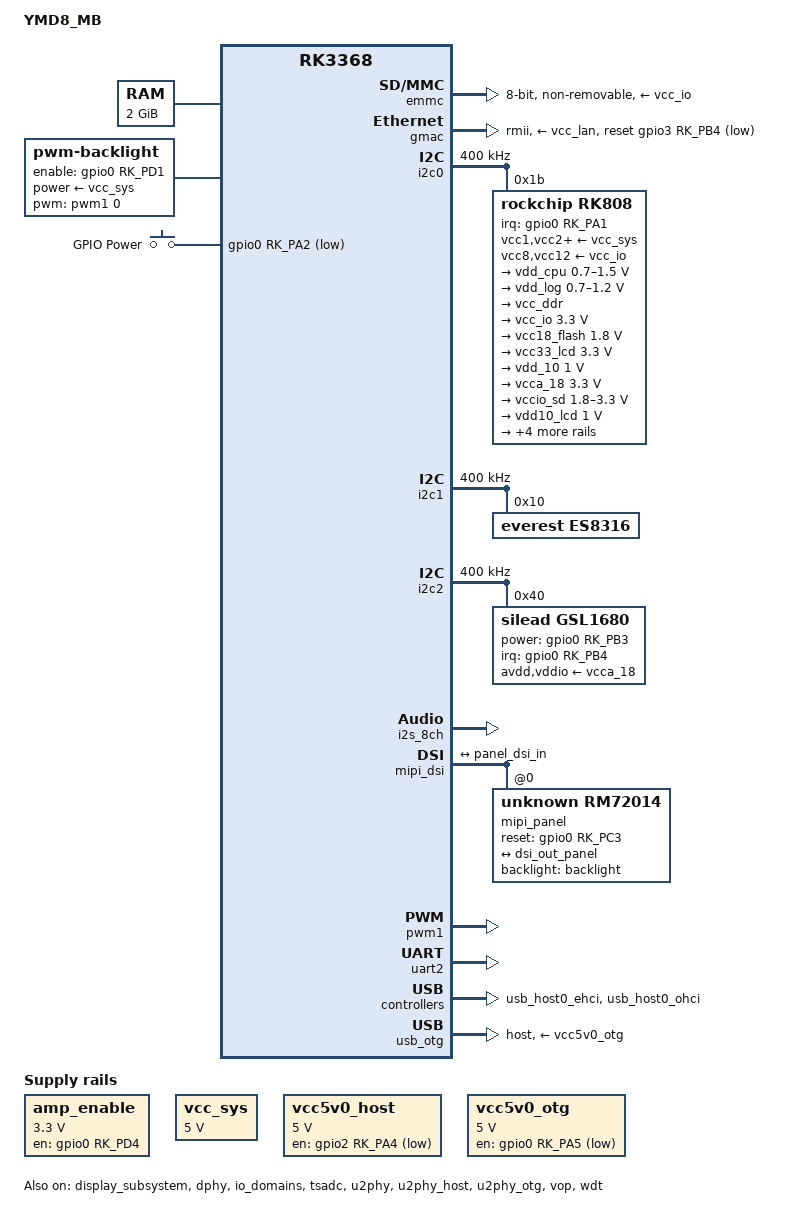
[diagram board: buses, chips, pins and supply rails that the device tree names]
// SPDX-License-Identifier: (GPL-2.0+ OR MIT)
/*
 * Author: WeiHao Li <cn.liweihao@gmail.com>
 */

/dts-v1/;
#include "rk3368.dtsi"
#include <dt-bindings/input/input.h>

/ {
	model = "YMD8_MB";
	compatible = "YM,YMD8_MB", "rockchip,rk3368";

	aliases {
		ethernet0 = &gmac;
		mmc0 = &emmc;
	};

	chosen {
		stdout-path = "serial2:115200n8";
	};

	memory@0 {
		device_type = "memory";
		reg = <0x0 0x0 0x0 0x80000000>;
	};

	backlight: backlight {
		compatible = "pwm-backlight";
		power-supply = <&vcc_sys>;
		enable-gpios = <&gpio0 RK_PD1 GPIO_ACTIVE_HIGH>;
		pwms = <&pwm1 0 25000 0>;
		brightness-levels = <
			  0   1   2   3   4   5   6   7
			  8   9  10  11  12  13  14  15
			 16  17  18  19  20  21  22  23
			 24  25  26  27  28  29  30  31
			 32  33  34  35  36  37  38  39
			 40  41  42  43  44  45  46  47
			 48  49  50  51  52  53  54  55
			 56  57  58  59  60  61  62  63
			 64  65  66  67  68  69  70  71
			 72  73  74  75  76  77  78  79
			 80  81  82  83  84  85  86  87
			 88  89  90  91  92  93  94  95
			 96  97  98  99 100 101 102 103
			104 105 106 107 108 109 110 111
			112 113 114 115 116 117 118 119
			120 121 122 123 124 125 126 127
			128 129 130 131 132 133 134 135
			136 137 138 139 140 141 142 143
			144 145 146 147 148 149 150 151
			152 153 154 155 156 157 158 159
			160 161 162 163 164 165 166 167
			168 169 170 171 172 173 174 175
			176 177 178 179 180 181 182 183
			184 185 186 187 188 189 190 191
			192 193 194 195 196 197 198 199
			200 201 202 203 204 205 206 207
			208 209 210 211 212 213 214 215
			216 217 218 219 220 221 222 223
			224 225 226 227 228 229 230 231
			232 233 234 235 236 237 238 239
			240 241 242 243 244 245 246 247
			248 249 250 251 252 253 254 255>;
		default-brightness-level = <50>;
		status = "okay";
	};

	keys: gpio-keys {
		compatible = "gpio-keys";
		pinctrl-names = "default";
		pinctrl-0 = <&pwr_key>;

		key-power {
			gpios = <&gpio0 RK_PA2 GPIO_ACTIVE_LOW>;
			label = "GPIO Power";
			linux,code = <KEY_POWER>;
			wakeup-source;
		};
	};

	cluster0_opp: opp-table-cluster0 {
		compatible = "operating-points-v2";
		opp-shared;

		opp-408000000 {
			opp-hz = /bits/ 64 <408000000>;
			opp-microvolt = <950000 950000 1350000>;
			clock-latency-ns = <40000>;
		};
		opp-600000000 {
			opp-hz = /bits/ 64 <600000000>;
			opp-microvolt = <950000 950000 1350000>;
			clock-latency-ns = <40000>;
		};
		opp-816000000 {
			opp-hz = /bits/ 64 <816000000>;
			opp-microvolt = <975000 975000 1350000>;
			clock-latency-ns = <40000>;
		};
		opp-1008000000 {
			opp-hz = /bits/ 64 <1008000000>;
			opp-microvolt = <1050000 1050000 1350000>;
			clock-latency-ns = <40000>;
		};
		opp-1200000000 {
			opp-hz = /bits/ 64 <1200000000>;
			opp-microvolt = <1150000 1150000 1350000>;
			clock-latency-ns = <40000>;
		};
		opp-1416000000 {
			opp-hz = /bits/ 64 <1416000000>;
			opp-microvolt = <1300000 1300000 1350000>;
			clock-latency-ns = <40000>;
		};
		opp-1512000000 {
			opp-hz = /bits/ 64 <1512000000>;
			opp-microvolt = <1350000 1350000 1350000>;
			clock-latency-ns = <40000>;
		};
	};

	cluster1_opp: opp-table-cluster1 {
		compatible = "operating-points-v2";
		opp-shared;

		opp-408000000 {
			opp-hz = /bits/ 64 <408000000>;
			opp-microvolt = <950000 950000 1350000>;
			clock-latency-ns = <40000>;
		};
		opp-600000000 {
			opp-hz = /bits/ 64 <600000000>;
			opp-microvolt = <950000 950000 1350000>;
			clock-latency-ns = <40000>;
		};
		opp-816000000 {
			opp-hz = /bits/ 64 <816000000>;
			opp-microvolt = <1025000 1025000 1350000>;
			clock-latency-ns = <40000>;
		};
		opp-1008000000 {
			opp-hz = /bits/ 64 <1008000000>;
			opp-microvolt = <1125000 1125000 1350000>;
			clock-latency-ns = <40000>;
		};
		opp-1200000000 {
			opp-hz = /bits/ 64 <1200000000>;
			opp-microvolt = <1225000 1225000 1350000>;
			clock-latency-ns = <40000>;
		};
	};

	amp_enable: regulator-amp-enable {
		compatible = "regulator-fixed";
		enable-active-high;
		gpio = <&gpio0 RK_PD4 GPIO_ACTIVE_HIGH>;
		regulator-name = "amp_enable";
		regulator-always-on;
		regulator-min-microvolt = <3300000>;
		regulator-max-microvolt = <3300000>;
	};

	vcc_sys: regulator-vcc-sys {
		compatible = "regulator-fixed";
		regulator-name = "vcc_sys";
		regulator-min-microvolt = <5000000>;
		regulator-max-microvolt = <5000000>;
		regulator-always-on;
		regulator-boot-on;
	};

	vcc5v0_host: regulator-vcc5v0-host {
		compatible = "regulator-fixed";
		gpio = <&gpio2 RK_PA4 GPIO_ACTIVE_LOW>;
		pinctrl-names = "default";
		pinctrl-0 = <&host_vbus_drv>;
		regulator-name = "vcc5v0_host";
		regulator-always-on;
		regulator-min-microvolt = <5000000>;
		regulator-max-microvolt = <5000000>;
	};

	vcc5v0_otg: regulator-vcc5v0-otg {
		compatible = "regulator-fixed";
		gpio = <&gpio0 RK_PA5 GPIO_ACTIVE_LOW>;
		pinctrl-names = "default";
		pinctrl-0 = <&otg_vbus_drv>;
		regulator-name = "vcc5v0_otg";
		regulator-min-microvolt = <5000000>;
		regulator-max-microvolt = <5000000>;
	};

	sound {
		compatible = "simple-audio-card";
		simple-audio-card,name = "I2S-Audio";
		simple-audio-card,format = "i2s";
		simple-audio-card,mclk-fs = <256>;

		simple-audio-card,cpu {
			sound-dai = <&i2s_8ch>;
		};

		simple-audio-card,codec {
			sound-dai = <&es8316>;
		};
	};
};

&cpu_l0 {
	clocks = <&cru ARMCLKL>;
	cpu-supply = <&vdd_cpu>;
	dynamic-power-coefficient = <149>;
	operating-points-v2 = <&cluster1_opp>;
};

&cpu_l1 {
	clocks = <&cru ARMCLKL>;
	cpu-supply = <&vdd_cpu>;
	operating-points-v2 = <&cluster1_opp>;
};

&cpu_l2 {
	clocks = <&cru ARMCLKL>;
	cpu-supply = <&vdd_cpu>;
	operating-points-v2 = <&cluster1_opp>;
};

&cpu_l3 {
	clocks = <&cru ARMCLKL>;
	cpu-supply = <&vdd_cpu>;
	operating-points-v2 = <&cluster1_opp>;
};

&cpu_b0 {
	clocks = <&cru ARMCLKB>;
	cpu-supply = <&vdd_cpu>;
	dynamic-power-coefficient = <160>;
	operating-points-v2 = <&cluster0_opp>;
};

&cpu_b1 {
	clocks = <&cru ARMCLKB>;
	cpu-supply = <&vdd_cpu>;
	operating-points-v2 = <&cluster0_opp>;
};

&cpu_b2 {
	clocks = <&cru ARMCLKB>;
	cpu-supply = <&vdd_cpu>;
	operating-points-v2 = <&cluster0_opp>;
};

&cpu_b3 {
	clocks = <&cru ARMCLKB>;
	cpu-supply = <&vdd_cpu>;
	operating-points-v2 = <&cluster0_opp>;
};

&display_subsystem {
	status = "okay";
};

&dphy {
	status = "okay";
};

&emmc {
	status = "okay";
	bus-width = <8>;
	non-removable;
	cap-mmc-highspeed;
	mmc-ddr-1_8v;
	keep-power-in-suspend;
	vmmc-supply = <&vcc_io>;
	vqmmc-supply = <&vcc18_flash>;
	pinctrl-names = "default";
	pinctrl-0 = <&emmc_clk>, <&emmc_cmd>, <&emmc_bus8>;
};

&gmac {
	phy-supply = <&vcc_lan>;
	phy-mode = "rmii";
	clock_in_out = "output";
	snps,reset-gpio = <&gpio3 RK_PB4 GPIO_ACTIVE_HIGH>;
	snps,reset-active-low;
	snps,reset-delays-us = <0 10000 1000000>;
	pinctrl-names = "default";
	pinctrl-0 = <&rmii_pins>;
	tx_delay = <0x30>;
	rx_delay = <0x10>;
	status = "okay";
};

&i2c0 {
	status = "okay";
	clock-frequency = <400000>;

	rk808: pmic@1b {
		compatible = "rockchip,rk808";
		reg = <0x1b>;
		pinctrl-names = "default";
		pinctrl-0 = <&pmic_int>, <&pmic_sleep>;
		interrupt-parent = <&gpio0>;
		interrupts = <RK_PA1 IRQ_TYPE_LEVEL_LOW>;
		rockchip,system-power-controller;
		vcc1-supply = <&vcc_sys>;
		vcc2-supply = <&vcc_sys>;
		vcc3-supply = <&vcc_sys>;
		vcc4-supply = <&vcc_sys>;
		vcc6-supply = <&vcc_sys>;
		vcc7-supply = <&vcc_sys>;
		vcc8-supply = <&vcc_io>;
		vcc9-supply = <&vcc_sys>;
		vcc10-supply = <&vcc_sys>;
		vcc11-supply = <&vcc_sys>;
		vcc12-supply = <&vcc_io>;
		clock-output-names = "xin32k", "rk808-clkout2";
		#clock-cells = <1>;

		regulators {
			vdd_cpu: DCDC_REG1 {
				regulator-always-on;
				regulator-boot-on;
				regulator-min-microvolt = <700000>;
				regulator-max-microvolt = <1500000>;
				regulator-name = "vdd_cpu";
			};

			vdd_log: DCDC_REG2 {
				regulator-always-on;
				regulator-boot-on;
				regulator-min-microvolt = <700000>;
				regulator-max-microvolt = <1200000>;
				regulator-name = "vdd_log";
			};

			vcc_ddr: DCDC_REG3 {
				regulator-always-on;
				regulator-boot-on;
				regulator-name = "vcc_ddr";
			};

			vcc_io: DCDC_REG4 {
				regulator-always-on;
				regulator-boot-on;
				regulator-min-microvolt = <3300000>;
				regulator-max-microvolt = <3300000>;
				regulator-name = "vcc_io";
			};

			vcc18_flash: LDO_REG1 {
				regulator-always-on;
				regulator-boot-on;
				regulator-min-microvolt = <1800000>;
				regulator-max-microvolt = <1800000>;
				regulator-name = "vcc18_flash";
			};

			vcc33_lcd: LDO_REG2 {
				regulator-always-on;
				regulator-boot-on;
				regulator-min-microvolt = <3300000>;
				regulator-max-microvolt = <3300000>;
				regulator-name = "vcca_33";
			};

			vdd_10: LDO_REG3 {
				regulator-always-on;
				regulator-boot-on;
				regulator-min-microvolt = <1000000>;
				regulator-max-microvolt = <1000000>;
				regulator-name = "vdd_10";
			};

			vcca_18: LDO_REG4 {
				regulator-boot-on;
				regulator-min-microvolt = <3300000>;
				regulator-max-microvolt = <3300000>;
				regulator-name = "vcca_18";
			};

			vccio_sd: LDO_REG5 {
				regulator-always-on;
				regulator-boot-on;
				regulator-min-microvolt = <1800000>;
				regulator-max-microvolt = <3300000>;
				regulator-name = "vccio_sd";
			};

			vdd10_lcd: LDO_REG6 {
				regulator-always-on;
				regulator-boot-on;
				regulator-min-microvolt = <1000000>;
				regulator-max-microvolt = <1000000>;
				regulator-name = "vdd10_lcd";
			};

			vcc_18: LDO_REG7 {
				regulator-always-on;
				regulator-boot-on;
				regulator-min-microvolt = <1800000>;
				regulator-max-microvolt = <1800000>;
				regulator-name = "vcc_18";
			};

			vcc18_lcd: LDO_REG8 {
				regulator-always-on;
				regulator-boot-on;
				regulator-min-microvolt = <1800000>;
				regulator-max-microvolt = <1800000>;
				regulator-name = "vcc18_lcd";
			};

			vcc_sd: SWITCH_REG1 {
				regulator-name = "vcc_sd";
			};

			vcc_lan: SWITCH_REG2 {
				regulator-always-on;
				regulator-boot-on;
				regulator-name = "vcc_lan";
			};
		};
	};
};

&i2c1 {
	status = "okay";
	clock-frequency = <400000>;

	es8316: codec@10 {
		compatible = "everest,es8316";
		reg = <0x10>;
		clocks = <&cru SCLK_I2S_8CH_OUT>;
		clock-names = "mclk";
		#sound-dai-cells = <0>;
	};
};

&i2c2 {
	status = "okay";
	clock-frequency = <400000>;

	gsl1680: touchscreen@40 {
		compatible = "silead,gsl1680";
		reg = <0x40>;
		interrupt-parent = <&gpio0>;
		interrupts = <RK_PB4 IRQ_TYPE_EDGE_RISING>;
		power-gpios = <&gpio0 RK_PB3 GPIO_ACTIVE_HIGH>;
		avdd-supply = <&vcca_18>;
		vddio-supply = <&vcca_18>;
		touchscreen-size-x = <1200>;
		touchscreen-size-y = <1920>;
		touchscreen-swapped-x-y;
		silead,max-fingers = <5>;
	};
};

&i2s_8ch {
	rockchip,playback-channels = <2>;
	rockchip,capture-channels = <2>;
	status = "okay";
};

&io_domains {
	status = "okay";
	audio-supply = <&vcc_io>;
	gpio30-supply = <&vcc_io>;
	gpio1830-supply = <&vcc_io>;
	sdcard-supply = <&vcc_sd>;
};

&mipi_dsi {
	status = "okay";
	#address-cells = <1>;
	#size-cells = <0>;

	ports {
		mipi_out: port@1 {
			reg = <1>;
			dsi_out_panel: endpoint {
				remote-endpoint = <&panel_dsi_in>;
			};
		};
	};

	mipi_panel: panel@0 {
		compatible = "unknown,rm72014";
		reg = <0>;
		power = <&vcc_io>;
		backlight = <&backlight>;
		reset = <&gpio0 RK_PC3 GPIO_ACTIVE_HIGH>;
		status = "okay";

		port {
			panel_dsi_in: endpoint {
				remote-endpoint = <&dsi_out_panel>;
			};
		};
	};
};

&pinctrl {
	keys {
		pwr_key: pwr-key {
			rockchip,pins = <0 RK_PA2 RK_FUNC_GPIO &pcfg_pull_none>;
		};
	};

	pmic {
		pmic_sleep: pmic-sleep {
			rockchip,pins = <0 RK_PA0 2 &pcfg_pull_none>;
		};

		pmic_int: pmic-int {
			rockchip,pins = <0 RK_PA1 RK_FUNC_GPIO &pcfg_pull_up>;
		};
	};

	usb-host {
		host_vbus_drv: host-vbus-drv {
			rockchip,pins = <0 RK_PA4 RK_FUNC_GPIO &pcfg_pull_none>;
		};
	};

	usb-otg {
		otg_vbus_drv: otg-vbus-drv {
			rockchip,pins = <0 RK_PA5 RK_FUNC_GPIO &pcfg_pull_none>;
		};
	};
};

&pmu_io_domains {
	pmu-supply = <&vcc_io>;
	vop-supply = <&vcc_io>;
	status = "okay";
};

&pwm1 {
	status = "okay";
};

&tsadc {
	status = "okay";
	assigned-clocks = <&cru SCLK_TSADC>;
	assigned-clock-rates = <32768>;
	rockchip,hw-tshut-mode = <0>; /* CRU */
	rockchip,hw-tshut-polarity = <1>; /* high */
};

&u2phy {
	status = "okay";
};

&u2phy_host {
	status = "okay";
};

&u2phy_otg {
	status = "okay";
};

&uart2 {
	status = "okay";
};

&usb_host0_ehci {
	status = "okay";
};

&usb_host0_ohci {
	status = "okay";
};

&usb_otg {
	status = "okay";
	dr_mode = "host";
	vbus-supply = <&vcc5v0_otg>;
};

&vop {
	status = "okay";
};

&vop_mmu {
	status = "okay";
};

&wdt {
	status = "okay";
};
